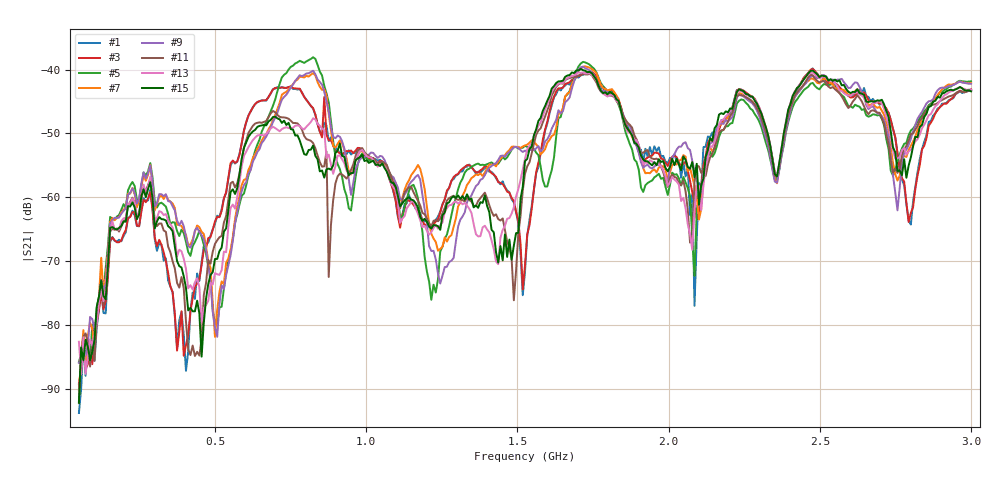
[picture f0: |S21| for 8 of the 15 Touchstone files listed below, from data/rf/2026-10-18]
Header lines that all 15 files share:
! NanoVNA-F_V2 fw 0.6.0 SN 4A3639384505514B
! cal: load open short thru cal'ed  over 50000000-3000000000 Hz, 201 points
! points 401, avg 4
# HZ S RI R 50
! S12 and S22 are not measured (written as 0)
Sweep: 50 MHz to 3 GHz
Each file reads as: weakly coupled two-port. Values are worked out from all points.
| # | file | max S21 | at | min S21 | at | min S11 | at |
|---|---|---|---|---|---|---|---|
| 1 | x10_air_1.s2p | -39.79 dB | 2.476 GHz | -93.8 dB | 50 MHz | -4.3 dB | 3 GHz |
| 2 | x10_air_2.s2p | -39.79 dB | 2.476 GHz | -92.2 dB | 50 MHz | -4.3 dB | 3 GHz |
| 3 | x10_air_3.s2p | -39.88 dB | 2.476 GHz | -89.2 dB | 50 MHz | -4.2 dB | 2.993 GHz |
| 4 | x10_nanox_tamp_B_1.s2p | -39.46 dB | 1.724 GHz | -86.7 dB | 50 MHz | -4.2 dB | 3 GHz |
| 5 | x10_nanox_tamp_B_2.s2p | -38.06 dB | 824.4 MHz | -85.8 dB | 50 MHz | -4.2 dB | 3 GHz |
| 6 | x10_nanox_tamp_B_3.s2p | -38.61 dB | 824.4 MHz | -90.3 dB | 50 MHz | -4.1 dB | 3 GHz |
| 7 | x10_nanox_tamp_P_1.s2p | -39.48 dB | 1.724 GHz | -90.2 dB | 50 MHz | -4.1 dB | 3 GHz |
| 8 | x10_nanox_tamp_P_2.s2p | -39.98 dB | 1.717 GHz | -90.9 dB | 86.88 MHz | -4.1 dB | 2.985 GHz |
| 9 | x10_nanox_tamp_P_3.s2p | -39.53 dB | 1.717 GHz | -86.0 dB | 50 MHz | -4.1 dB | 2.978 GHz |
| 10 | x10_nanox_u1_ref_B_1.s2p | -40.02 dB | 2.476 GHz | -87.9 dB | 57.38 MHz | -4.2 dB | 3 GHz |
| 11 | x10_nanox_u1_ref_B_2.s2p | -40.58 dB | 1.717 GHz | -92.0 dB | 50 MHz | -4.2 dB | 3 GHz |
| 12 | x10_nanox_u1_ref_B_3.s2p | -40.70 dB | 1.739 GHz | -86.9 dB | 57.38 MHz | -4.2 dB | 3 GHz |
| 13 | x10_nanox_u1_ref_P_1.s2p | -40.42 dB | 1.717 GHz | -87.7 dB | 57.38 MHz | -4.1 dB | 2.97 GHz |
| 14 | x10_nanox_u1_ref_P_2.s2p | -40.04 dB | 2.476 GHz | -89.2 dB | 57.38 MHz | -4.1 dB | 2.993 GHz |
| 15 | x10_nanox_u1_ref_P_3.s2p | -39.89 dB | 1.709 GHz | -92.2 dB | 50 MHz | -4.1 dB | 3 GHz |
